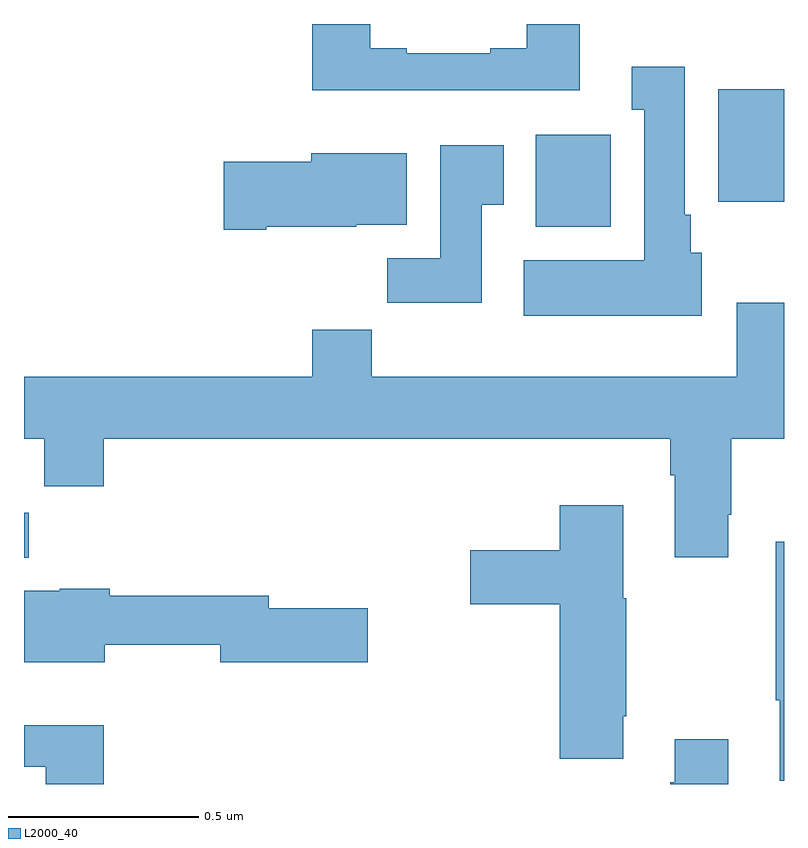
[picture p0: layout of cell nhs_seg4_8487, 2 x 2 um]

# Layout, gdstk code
import gdstk
lib = gdstk.Library(unit=1e-6, precision=1e-09)
def R(c, l, rs):  # rectangles x0, y0, x1, y1
    for r in rs: c.add(gdstk.rectangle(r[:2], r[2:], *l))
def P(c, l, *ps):  # polygons
    for p in ps: c.add(gdstk.Polygon(p, *l))
L2000_40 = (2000, 40)

nhs_seg4_8487 = lib.new_cell('nhs_seg4_8487')
R(nhs_seg4_8487, L2000_40, [(215,808.496,215.012,808.614), (216.347,809.366,216.544,809.608), (216.827,809.432,217,809.728)])
P(nhs_seg4_8487, L2000_40, [(216.463,809.9),(216.323,809.9),(216.323,809.836),(216.227,809.836),(216.227,809.823),(216.007,809.823),(216.007,809.836),(215.911,809.836),(215.911,809.9),(215.759,809.9),(215.759,809.726),(216.463,809.726)],
  [(216.784,809.298),(216.754,809.298),(216.754,809.398),(216.739,809.398),(216.739,809.788),(216.599,809.788),(216.599,809.675),(216.632,809.675),(216.632,809.278),(216.315,809.278),(216.315,809.132),(216.784,809.132)],
  [(216.205,809.425),(216.262,809.425),(216.262,809.581),(216.095,809.581),(216.095,809.284),(215.956,809.284),(215.956,809.166),(216.205,809.166)],
  [(215.638,809.366),(215.874,809.366),(215.874,809.372),(216.007,809.372),(216.007,809.56),(215.756,809.56),(215.756,809.537),(215.526,809.537),(215.526,809.359),(215.638,809.359)],
  [(216.853,808.609),(216.861,808.609),(216.861,808.808),(217,808.808),(217,809.167),(216.875,809.167),(216.875,808.972),(215.915,808.972),(215.915,809.096),(215.759,809.096),(215.759,808.972),(215,808.972),(215,808.808),(215.053,808.808),(215.053,808.684),(215.21,808.684),(215.21,808.808),(216.701,808.808),(216.701,808.712),(216.713,808.712),(216.713,808.497),(216.853,808.497)],
  [(216.577,808.078),(216.585,808.078),(216.585,808.389),(216.577,808.389),(216.577,808.633),(216.41,808.633),(216.41,808.515),(216.174,808.515),(216.174,808.373),(216.41,808.373),(216.41,807.966),(216.577,807.966)],
  [(217,808.537),(216.978,808.537),(216.978,808.121),(216.989,808.121),(216.989,807.909),(217,807.909)],
  [(215.212,808.267),(215.516,808.267),(215.516,808.22),(215.905,808.22),(215.905,808.362),(215.644,808.362),(215.644,808.396),(215.225,808.396),(215.225,808.414),(215.094,808.414),(215.094,808.408),(215,808.408),(215,808.22),(215.212,808.22)],
  [(215.21,808.054),(215,808.054),(215,807.945),(215.057,807.945),(215.057,807.9),(215.21,807.9)],
  [(216.853,808.018),(216.713,808.018),(216.713,807.905),(216.701,807.905),(216.701,807.9),(216.853,807.9)])

lib.write_gds('nhs_seg4_8487.gds')
